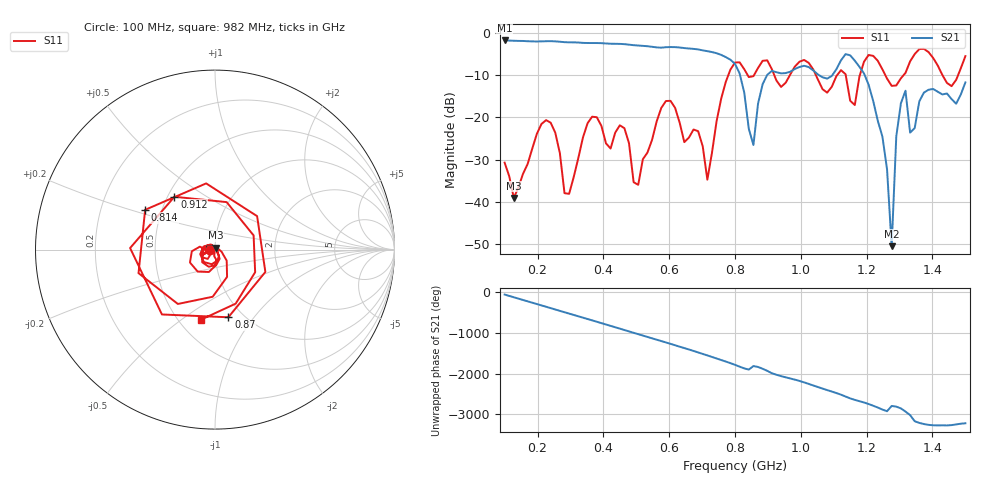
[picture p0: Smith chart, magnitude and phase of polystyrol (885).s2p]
! NanoVNA-App
! Date: 2025-09-25 15:36:46
! Start: 100MHz Stop: 1,5GHz Points: 101
! S-Parameter data: F S11 S21 S12 S22
# Hz S RI R 50
!  Frequency  S11_Real  S11_Imag  S21_Real  S21_Imag  S12_Real  S12_Imag  S22_Real  S22_Imag
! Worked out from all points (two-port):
!   101 points, 100 MHz to 1.5 GHz, reference 50 ohm
!   highest |S21| = -1.80 dB at 100 MHz (marker M1); lowest = -50.5 dB at 1.276 GHz (marker M2)
!   |S21| within 3 dB of the highest: start of sweep to 743.1 MHz
!   lowest |S11| = -39.1 dB at 128 MHz (marker M3), VSWR 1.02, Z = 50.3 + j1.06 ohm
!   |S11| at or under -10 dB: start of sweep to 779.8 MHz; 1.046 GHz to 1.11 GHz (64.66 MHz wide, 6 % of centre); 1.257 GHz to 1.312 GHz (55.7 MHz wide, 4.34 % of centre) (the widest 3 of 7)
!   S12 and S22 are empty: the file has one direction only
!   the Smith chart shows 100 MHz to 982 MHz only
!   S11 on the Smith chart (normalised r, x): 100 MHz: 0.94, -0.01; 814 MHz: 0.40, +0.22; 870 MHz: 0.85, -0.75; 912 MHz: 0.54, +0.37; 982 MHz: 0.64, -0.59
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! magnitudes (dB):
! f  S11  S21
! 100 MHz  -30.7  -1.8
! 128 MHz  -39.1  -1.9
! 212 MHz  -21.6  -2.0
! 282 MHz  -38.0  -2.2
! 338 MHz  -24.8  -2.4
! 464 MHz  -22.6  -2.7
! 506 MHz  -36.0  -3.0
! 576 MHz  -17.8  -3.5
! 716 MHz  -34.8  -4.3
! 800 MHz  -7.0  -7.3
! 814 MHz  -7.0  -9.6
! 856 MHz  -10.3  -26.5
! 870 MHz  -8.3  -16.7
! 912 MHz  -8.6  -9.0
! 982 MHz  -8.0  -8.5
! 1.038 GHz  -8.7  -8.9
! 1.192 GHz  -6.8  -9.6
! 1.248 GHz  -8.7  -24.6
! 1.276 GHz  -12.5  -50.5
! 1.29 GHz  -12.4  -24.6
! 1.318 GHz  -9.5  -13.7
! 1.5 GHz  -5.5  -11.7
